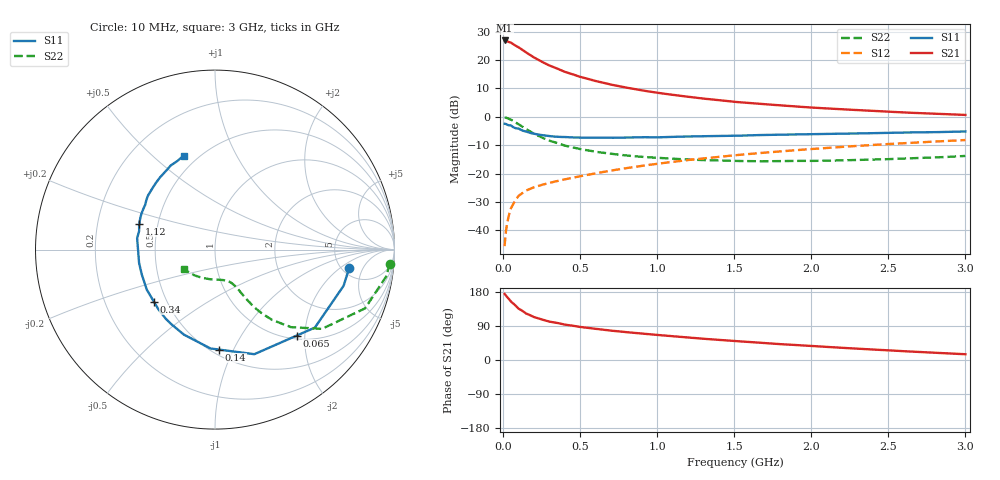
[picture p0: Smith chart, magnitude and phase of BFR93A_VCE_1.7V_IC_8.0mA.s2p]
! Infineon Technologies  Discrete & RF Semiconductors
! BFR93A
! VCE =  1.7 V,  IC =  8.0 mA
! Common Emitter S-Parameters:  Nov 2015
# GHz  S  MA  R  50
!  f  S11  S21  S12  S22
! GHz  MAG  ANG  MAG  ANG  MAG  ANG  MAG  ANG
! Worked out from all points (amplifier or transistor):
!   180 points, 10 MHz to 3 GHz, reference 50 ohm
!   highest |S21| = 26.9 dB at 10 MHz (marker M1)
!   |S21| within 3 dB of that: start of sweep to 116.7 MHz
!   unconditionally stable (mu >= 1): 596.3 MHz to end of sweep
!   at 160 MHz: K = 0.45, MSG = 24.0 dB, |S12| = -25.7 dB
!   at 1.22 GHz: K = 1.12, MAG = 8.9 dB, |S12| = -15.1 dB
!   at 3 GHz: K = 1.01, MAG = 3.8 dB, |S12| = -8.2 dB
!   S11 on the Smith chart (normalised r, x): 10 MHz: 5.77, -2.77; 65 MHz: 1.07, -1.82; 140 MHz: 0.54, -0.88; 340 MHz: 0.43, -0.31; 1.12 GHz: 0.39, +0.14; 3 GHz: 0.42, +0.63
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0.01  0.7542 -7.9  22.02 174.4  0.0053 86.1  0.9772 -4.6
0.02  0.7444 -15.7  21.75 169.1  0.0103 81.1  0.965 -9.0
0.05  0.706 -38.0  20.23 154.4  0.0242 72.5  0.8976 -21.4
0.065  0.6608 -46.5  18.99 149.5  0.0289 67.4  0.8453 -25.3
0.1  0.6226 -69.4  16.75 135.6  0.0405 60.4  0.7422 -36.5
0.14  0.5577 -87.6  14.1 125.5  0.0485 55.2  0.6308 -43.5
0.15  0.5514 -92.6  13.52 122.4  0.0505 54.2  0.6047 -45.6
0.2  0.5044 -110.1  11.1 113.4  0.0575 51.7  0.5051 -50.9
0.24  0.4811 -120.7  9.656 108.1  0.0621 51.0  0.4473 -53.4
0.26  0.473 -125.4  9.044 105.6  0.0644 51.0  0.4226 -54.4
0.3  0.4584 -133.4  7.999 101.3  0.0686 51.3  0.3811 -56.0
0.34  0.4471 -139.7  7.259 98.6  0.0729 52.0  0.3532 -56.7
0.4  0.4408 -149.5  6.187 93.4  0.0793 52.8  0.3116 -58.1
0.52  0.4297 -163.0  4.889 86.3  0.0922 54.5  0.2647 -59.4
0.7  0.4276 -176.9  3.688 77.5  0.1131 56.5  0.2234 -61.7
0.9  0.4386 171.6  2.913 69.8  0.137 57.3  0.1973 -65.6
1.02  0.4369 165.3  2.602 65.5  0.1514 57.3  0.1886 -68.3
1.12  0.4461 161.0  2.396 62.1  0.1637 57.0  0.182 -71.4
1.52  0.4638 146.7  1.816 49.6  0.2126 54.9  0.1671 -85.4
2.02  0.4955 132.1  1.444 36.5  0.2734 50.6  0.1676 -105.4
2.52  0.5231 119.7  1.224 25.0  0.334 45.0  0.1807 -126.3
3  0.552 108.4  1.079 15.2  0.3903 38.9  0.2049 -147.9
